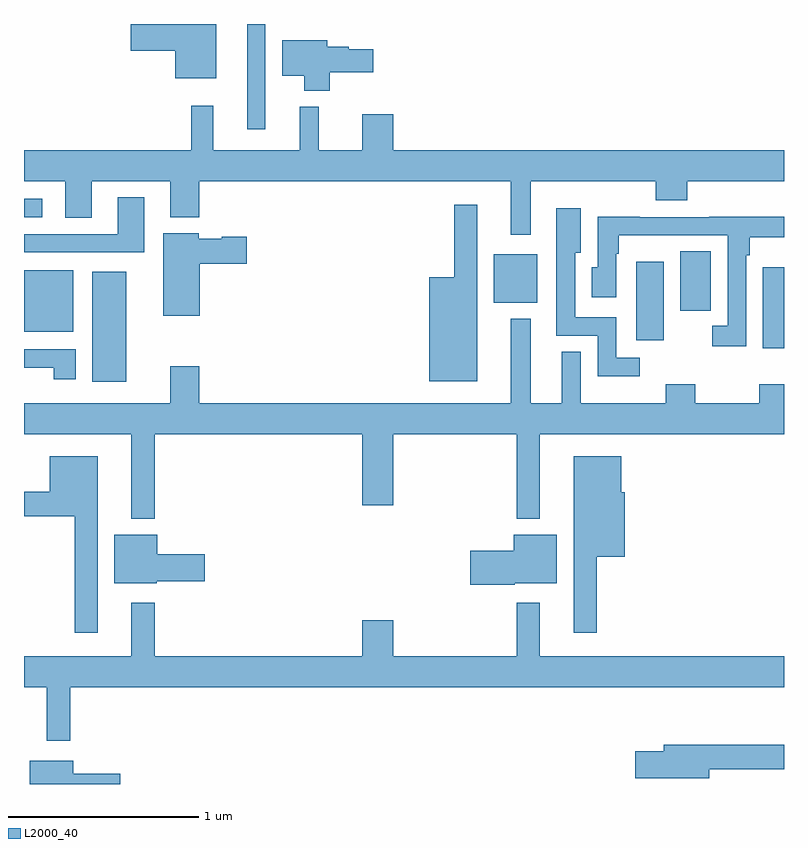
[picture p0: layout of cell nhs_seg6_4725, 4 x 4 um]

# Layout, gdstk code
import gdstk
lib = gdstk.Library(unit=1e-6, precision=1e-09)
def R(c, l, rs):  # rectangles x0, y0, x1, y1
    for r in rs: c.add(gdstk.rectangle(r[:2], r[2:], *l))
def P(c, l, *ps):  # polygons
    for p in ps: c.add(gdstk.Polygon(p, *l))
L2000_40 = (2000, 40)

nhs_seg6_4725 = lib.new_cell('nhs_seg6_4725')
R(nhs_seg6_4725, L2000_40, [(391.358,943.616,391.537,944.197), (394.889,943.794,395,944.221), (394.223,943.836,394.366,944.248), (391,943.88,391.258,944.203), (394.454,943.992,394.615,944.303), (393.473,944.033,393.7,944.287), (391,944.484,391.096,944.58), (392.174,944.946,392.271,945.5)])
P(nhs_seg6_4725, L2000_40, [(392.011,945.5),(391.562,945.5),(391.562,945.359),(391.796,945.359),(391.796,945.215),(392.011,945.215)],
  [(392.609,945.245),(392.839,945.245),(392.839,945.367),(392.709,945.367),(392.709,945.38),(392.596,945.38),(392.596,945.415),(392.36,945.415),(392.36,945.227),(392.474,945.227),(392.474,945.149),(392.609,945.149)],
  [(393.667,944.672),(394.325,944.672),(394.325,944.573),(394.49,944.573),(394.49,944.672),(395,944.672),(395,944.836),(392.944,944.836),(392.944,945.025),(392.78,945.025),(392.78,944.836),(392.55,944.836),(392.55,945.064),(392.45,945.064),(392.45,944.836),(391.997,944.836),(391.997,945.07),(391.879,945.07),(391.879,944.836),(391,944.836),(391,944.672),(391.217,944.672),(391.217,944.479),(391.357,944.479),(391.357,944.672),(391.769,944.672),(391.769,944.483),(391.922,944.483),(391.922,944.672),(393.563,944.672),(393.563,944.391),(393.667,944.391)],
  [(391.633,944.587),(391.493,944.587),(391.493,944.394),(391,944.394),(391,944.298),(391.633,944.298)],
  [(393.385,944.548),(393.264,944.548),(393.264,944.167),(393.134,944.167),(393.134,943.619),(393.385,943.619)],
  [(394.24,943.743),(394.116,943.743),(394.116,943.956),(393.901,943.956),(393.901,944.297),(393.931,944.297),(393.931,944.53),(393.8,944.53),(393.8,943.86),(394.02,943.86),(394.02,943.646),(394.24,943.646)],
  [(394.8,944.282),(394.82,944.282),(394.82,944.378),(395,944.378),(395,944.486),(394.607,944.486),(394.607,944.484),(394.241,944.484),(394.241,944.486),(394.02,944.486),(394.02,944.22),(393.989,944.22),(393.989,944.061),(394.116,944.061),(394.116,944.291),(394.129,944.291),(394.129,944.387),(394.341,944.387),(394.341,944.388),(394.704,944.388),(394.704,943.911),(394.623,943.911),(394.623,943.803),(394.8,943.803)],
  [(391.924,944.237),(392.173,944.237),(392.173,944.379),(392.04,944.379),(392.04,944.371),(391.92,944.371),(391.92,944.398),(391.733,944.398),(391.733,943.964),(391.924,943.964)],
  [(395,943.603),(394.87,943.603),(394.87,943.504),(394.533,943.504),(394.533,943.603),(394.378,943.603),(394.378,943.504),(393.931,943.504),(393.931,943.775),(393.83,943.775),(393.83,943.504),(393.667,943.504),(393.667,943.948),(393.563,943.948),(393.563,943.504),(391.922,943.504),(391.922,943.699),(391.769,943.699),(391.769,943.504),(391,943.504),(391,943.34),(391.565,943.34),(391.565,942.896),(391.687,942.896),(391.687,943.34),(392.78,943.34),(392.78,942.966),(392.944,942.966),(392.944,943.34),(393.594,943.34),(393.594,942.896),(393.715,942.896),(393.715,943.34),(395,943.34)],
  [(391.273,943.788),(391,943.788),(391,943.691),(391.156,943.691),(391.156,943.629),(391.273,943.629)],
  [(391.387,943.225),(391.136,943.225),(391.136,943.039),(391,943.039),(391,942.91),(391.268,942.91),(391.268,942.621),(391.266,942.621),(391.266,942.297),(391.387,942.297)],
  [(394.015,942.695),(394.162,942.695),(394.162,943.035),(394.144,943.035),(394.144,943.225),(393.893,943.225),(393.893,942.297),(394.015,942.297)],
  [(391.698,942.568),(391.951,942.568),(391.951,942.71),(391.702,942.71),(391.702,942.811),(391.475,942.811),(391.475,942.557),(391.698,942.557)],
  [(393.582,942.557),(393.805,942.557),(393.805,942.811),(393.578,942.811),(393.578,942.728),(393.348,942.728),(393.348,942.55),(393.582,942.55)],
  [(391.243,942.008),(395,942.008),(395,942.172),(393.715,942.172),(393.715,942.454),(393.594,942.454),(393.594,942.172),(392.944,942.172),(392.944,942.361),(392.78,942.361),(392.78,942.172),(391.687,942.172),(391.687,942.454),(391.565,942.454),(391.565,942.172),(391,942.172),(391,942.008),(391.121,942.008),(391.121,941.727),(391.243,941.727)],
  [(394.606,941.578),(395,941.578),(395,941.707),(394.367,941.707),(394.367,941.673),(394.218,941.673),(394.218,941.531),(394.606,941.531)],
  [(391.507,941.553),(391.258,941.553),(391.258,941.623),(391.031,941.623),(391.031,941.5),(391.507,941.5)])

lib.write_gds('nhs_seg6_4725.gds')
